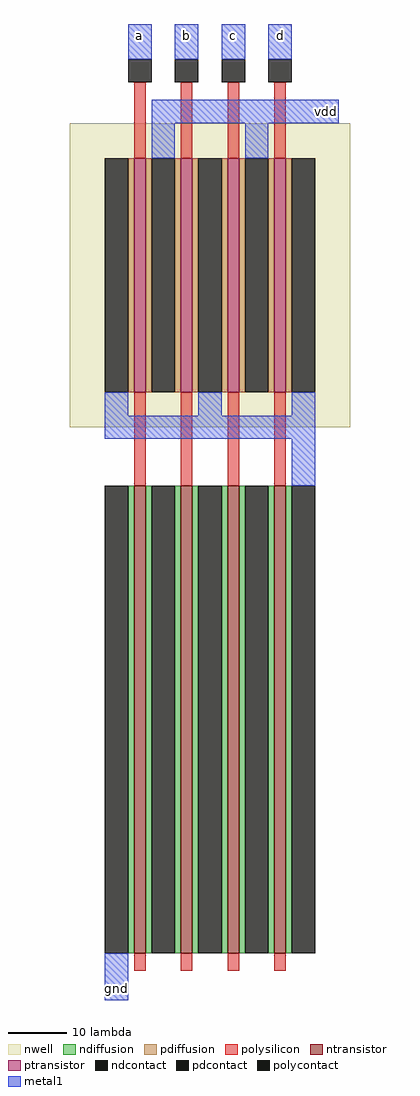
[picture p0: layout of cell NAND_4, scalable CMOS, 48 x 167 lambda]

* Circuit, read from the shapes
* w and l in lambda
.subckt NAND_4 a b c d gnd vdd
M1 n1 a gnd VSUBS nfet w=80 l=2
M2 n2 b n1 VSUBS nfet w=80 l=2
M3 n3 c n2 VSUBS nfet w=80 l=2
M4 n4 d n3 VSUBS nfet w=80 l=2
M5 vdd a n4 n5 pfet w=40 l=2
M6 n4 b vdd n5 pfet w=40 l=2
M7 vdd c n4 n5 pfet w=40 l=2
M8 n4 d vdd n5 pfet w=40 l=2
.ends

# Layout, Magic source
magic
tech scmos
<< nwell >>
rect 0 74 48 126
<< ntransistor >>
rect 11 -16 13 64
rect 19 -16 21 64
rect 27 -16 29 64
rect 35 -16 37 64
<< ptransistor >>
rect 11 80 13 120
rect 19 80 21 120
rect 27 80 29 120
rect 35 80 37 120
<< ndiffusion >>
rect 10 -16 11 64
rect 13 -16 14 64
rect 18 -16 19 64
rect 21 -16 22 64
rect 26 -16 27 64
rect 29 -16 30 64
rect 34 -16 35 64
rect 37 -16 38 64
<< pdiffusion >>
rect 10 80 11 120
rect 13 80 14 120
rect 18 80 19 120
rect 21 80 22 120
rect 26 80 27 120
rect 29 80 30 120
rect 34 80 35 120
rect 37 80 38 120
<< ndcontact >>
rect 6 -16 10 64
rect 14 -16 18 64
rect 22 -16 26 64
rect 30 -16 34 64
rect 38 -16 42 64
<< pdcontact >>
rect 6 80 10 120
rect 14 80 18 120
rect 22 80 26 120
rect 30 80 34 120
rect 38 80 42 120
<< polysilicon >>
rect 11 120 13 133
rect 19 120 21 133
rect 27 120 29 133
rect 35 120 37 133
rect 11 64 13 80
rect 19 64 21 80
rect 27 64 29 80
rect 35 64 37 80
rect 11 -19 13 -16
rect 19 -19 21 -16
rect 27 -19 29 -16
rect 35 -19 37 -16
<< polycontact >>
rect 10 133 14 137
rect 18 133 22 137
rect 26 133 30 137
rect 34 133 38 137
<< metal1 >>
rect 10 137 14 143
rect 18 137 22 143
rect 26 137 30 143
rect 34 137 38 143
rect 14 126 46 130
rect 14 120 18 126
rect 30 120 34 126
rect 6 76 10 80
rect 22 76 26 80
rect 38 76 42 80
rect 6 72 42 76
rect 38 64 42 72
rect 6 -24 10 -16
<< labels >>
rlabel metal1 10 139 14 143 5 a
rlabel metal1 18 139 22 143 5 b
rlabel metal1 26 139 30 143 5 c
rlabel metal1 34 139 38 143 5 d
rlabel metal1 6 -24 10 -20 1 gnd
rlabel metal1 42 126 46 130 7 vdd
<< end >>
